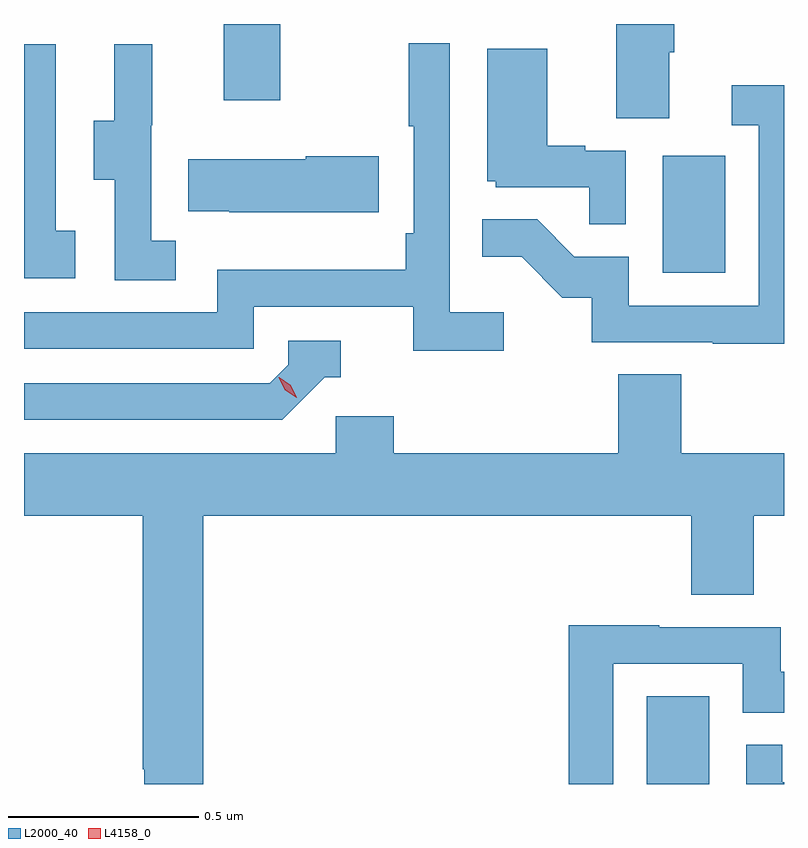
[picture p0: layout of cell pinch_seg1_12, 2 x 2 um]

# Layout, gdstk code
import gdstk
lib = gdstk.Library(unit=1e-6, precision=1e-09)
def R(c, l, rs):  # rectangles x0, y0, x1, y1
    for r in rs: c.add(gdstk.rectangle(r[:2], r[2:], *l))
def P(c, l, *ps):  # polygons
    for p in ps: c.add(gdstk.Polygon(p, *l))
L2000_40 = (2000, 40)
L4158_0 = (4158, 0)

pinch_seg1_12 = lib.new_cell('pinch_seg1_12')
R(pinch_seg1_12, L2000_40, [(1116.59,580.33,1116.754,580.561), (1116.632,581.676,1116.796,581.983), (1115.477,582.129,1115.625,582.33)])
P(pinch_seg1_12, L2000_40, [(1116.649,582.256),(1116.662,582.256),(1116.662,582.33),(1116.509,582.33),(1116.509,582.082),(1116.649,582.082)],
  [(1116.214,581.572),(1116.072,581.572),(1116.072,582.28),(1115.964,582.28),(1115.964,582.061),(1115.976,582.061),(1115.976,581.779),(1115.956,581.779),(1115.956,581.683),(1115.46,581.683),(1115.46,581.571),(1114.951,581.571),(1114.951,581.475),(1115.556,581.475),(1115.556,581.586),(1115.975,581.586),(1115.975,581.47),(1116.214,581.47)],
  [(1115.35,581.759),(1115.286,581.759),(1115.286,582.063),(1115.288,582.063),(1115.288,582.277),(1115.189,582.277),(1115.189,582.075),(1115.135,582.075),(1115.135,581.92),(1115.19,581.92),(1115.19,581.656),(1115.35,581.656)],
  [(1115.086,581.786),(1115.034,581.786),(1115.034,582.277),(1114.951,582.277),(1114.951,581.661),(1115.086,581.661)],
  [(1116.534,581.997),(1116.428,581.997),(1116.428,582.01),(1116.328,582.01),(1116.328,582.265),(1116.17,582.265),(1116.17,581.916),(1116.192,581.916),(1116.192,581.901),(1116.439,581.901),(1116.439,581.803),(1116.534,581.803)],
  [(1116.951,582.169),(1116.813,582.169),(1116.813,582.063),(1116.885,582.063),(1116.885,581.589),(1116.543,581.589),(1116.543,581.718),(1116.399,581.718),(1116.301,581.816),(1116.157,581.816),(1116.157,581.717),(1116.261,581.717),(1116.368,581.61),(1116.445,581.61),(1116.445,581.493),(1116.763,581.493),(1116.763,581.488),(1116.951,581.488)],
  [(1115.884,581.982),(1115.693,581.982),(1115.693,581.974),(1115.383,581.974),(1115.383,581.837),(1115.491,581.837),(1115.491,581.834),(1115.884,581.834)],
  [(1115.742,581.4),(1115.785,581.4),(1115.785,581.496),(1115.646,581.496),(1115.646,581.433),(1115.598,581.385),(1114.951,581.385),(1114.951,581.289),(1115.631,581.289)],
  [(1115.423,581.036),(1116.707,581.036),(1116.707,580.828),(1116.872,580.828),(1116.872,581.036),(1116.951,581.036),(1116.951,581.2),(1116.68,581.2),(1116.68,581.408),(1116.515,581.408),(1116.515,581.2),(1115.924,581.2),(1115.924,581.298),(1115.772,581.298),(1115.772,581.2),(1114.951,581.2),(1114.951,581.036),(1115.263,581.036),(1115.263,580.369),(1115.267,580.369),(1115.267,580.33),(1115.423,580.33)],
  [(1116.501,580.647),(1116.843,580.647),(1116.843,580.518),(1116.951,580.518),(1116.951,580.626),(1116.942,580.626),(1116.942,580.743),(1116.623,580.743),(1116.623,580.748),(1116.385,580.748),(1116.385,580.33),(1116.501,580.33)],
  [(1116.951,580.335),(1116.947,580.335),(1116.947,580.433),(1116.852,580.433),(1116.852,580.33),(1116.951,580.33)])
P(pinch_seg1_12, L4158_0, [(1115.669,581.346),(1115.638,581.366),(1115.622,581.399),(1115.622,581.4),(1115.623,581.4),(1115.653,581.38),(1115.669,581.346),(1115.669,581.346)])

lib.write_gds('pinch_seg1_12.gds')
